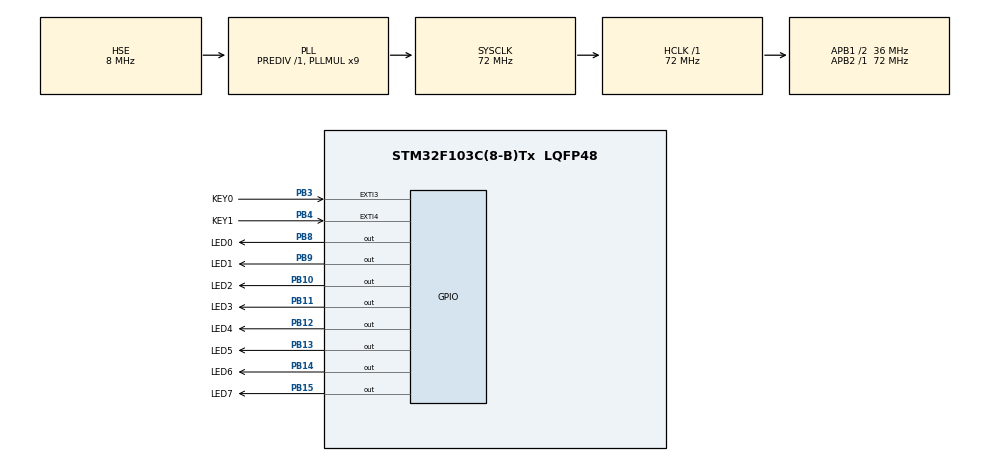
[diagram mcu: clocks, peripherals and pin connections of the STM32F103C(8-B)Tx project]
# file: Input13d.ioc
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Mcu.Family=STM32F1
Mcu.Name=STM32F103C(8-B)Tx
Mcu.Package=LQFP48
NVIC.EXTI3_IRQn=true\:1\:0\:true\:false\:true\:true\:true\:true
NVIC.EXTI4_IRQn=true\:2\:0\:true\:false\:true\:true\:true\:true
NVIC.PriorityGroup=NVIC_PRIORITYGROUP_4
PA13.Mode=Serial_Wire
PA13.Signal=SYS_JTMS-SWDIO
PA14.Mode=Serial_Wire
PA14.Signal=SYS_JTCK-SWCLK
PB10.GPIO_Label=LED2
PB10.Signal=GPIO_Output
PB11.GPIO_Label=LED3
PB11.Signal=GPIO_Output
PB12.GPIO_Label=LED4
PB12.Signal=GPIO_Output
PB13.GPIO_Label=LED5
PB13.Signal=GPIO_Output
PB14.GPIO_Label=LED6
PB14.Signal=GPIO_Output
PB15.GPIO_Label=LED7
PB15.Signal=GPIO_Output
PB3.GPIO_Label=KEY0
PB3.GPIO_ModeDefaultEXTI=GPIO_MODE_IT_RISING_FALLING
PB3.GPIO_PuPd=GPIO_PULLUP
PB3.Signal=GPXTI3
PB4.GPIO_Label=KEY1
PB4.GPIO_ModeDefaultEXTI=GPIO_MODE_IT_RISING_FALLING
PB4.GPIO_PuPd=GPIO_PULLUP
PB4.Signal=GPXTI4
PB8.GPIO_Label=LED0
PB8.Signal=GPIO_Output
PB9.GPIO_Label=LED1
PB9.Signal=GPIO_Output
PD0-OSC_IN.Mode=HSE-External-Oscillator
PD0-OSC_IN.Signal=RCC_OSC_IN
PD1-OSC_OUT.Mode=HSE-External-Oscillator
PD1-OSC_OUT.Signal=RCC_OSC_OUT
ProjectManager.HeapSize=0x200
ProjectManager.StackSize=0x400
ProjectManager.TargetToolchain=MDK-ARM V5.32
RCC.AHBFreq_Value=72000000
RCC.APB1CLKDivider=RCC_HCLK_DIV2
RCC.APB1Freq_Value=36000000
RCC.APB1TimFreq_Value=72000000
RCC.APB2Freq_Value=72000000
RCC.APB2TimFreq_Value=72000000
RCC.HCLKFreq_Value=72000000
RCC.PLLMUL=RCC_PLL_MUL9
RCC.PLLSourceVirtual=RCC_PLLSOURCE_HSE
RCC.SYSCLKFreq_VALUE=72000000
RCC.SYSCLKSource=RCC_SYSCLKSOURCE_PLLCLK
RCC.USBFreq_Value=72000000
board=custom

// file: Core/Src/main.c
/* USER CODE BEGIN Header */
/**
  ******************************************************************************
  * @file           : main.c
  * @brief          : Main program body
  ******************************************************************************
  * @attention
  *
  * Copyright (c) 2022 STMicroelectronics.
  * All rights reserved.
  *
  * This software is licensed under terms that can be found in the LICENSE file
  * in the root directory of this software component.
  * If no LICENSE file comes with this software, it is provided AS-IS.
  *
  ******************************************************************************
  */
/* USER CODE END Header */
#include "main.h"

/* USER CODE BEGIN PV */
uint8_t bin[8];
int isPress1 = 0;
int isPress2 = 0;
uint32_t timePress1 = 0;
uint32_t timePress2 = 0;
uint8_t time_double1 = 0;
uint8_t time_double2 = 0;
/* USER CODE END PV */

void SystemClock_Config(void);
static void MX_GPIO_Init(void);

/* USER CODE BEGIN 0 */
void chuyen_he(int dec)
{
	for(int i = 0; i < 8; i++)
	{
		bin[i] = dec%2;
		dec/=2;
	}
}

void increase_1(void)
{
	for(int i = 0; i <= 255; i++)
	{
		if(isPress2 >= 1||isPress1 >= 1)
		{
			break;
		}
		chuyen_he(i);
		HAL_GPIO_WritePin(GPIOB, GPIO_PIN_8, bin[0]);
		HAL_GPIO_WritePin(GPIOB, GPIO_PIN_9, bin[1]);
		HAL_GPIO_WritePin(GPIOB, GPIO_PIN_10, bin[2]);
		HAL_GPIO_WritePin(GPIOB, GPIO_PIN_11, bin[3]);
		HAL_GPIO_WritePin(GPIOB, GPIO_PIN_12, bin[4]);
		HAL_GPIO_WritePin(GPIOB, GPIO_PIN_13, bin[5]);
		HAL_GPIO_WritePin(GPIOB, GPIO_PIN_14, bin[6]);
		HAL_GPIO_WritePin(GPIOB, GPIO_PIN_15, bin[7]);
		HAL_Delay(1000);
	}
}

void increase_2(void)
{
	for(int i = 0; i <= 255; i+=2)
	{
		if(isPress2 >= 1||isPress1 >= 1)
		{
			break;
		}
		chuyen_he(i);
		HAL_GPIO_WritePin(GPIOB, GPIO_PIN_8, bin[0]);
		HAL_GPIO_WritePin(GPIOB, GPIO_PIN_9, bin[1]);
		HAL_GPIO_WritePin(GPIOB, GPIO_PIN_10, bin[2]);
		HAL_GPIO_WritePin(GPIOB, GPIO_PIN_11, bin[3]);
		HAL_GPIO_WritePin(GPIOB, GPIO_PIN_12, bin[4]);
		HAL_GPIO_WritePin(GPIOB, GPIO_PIN_13, bin[5]);
		HAL_GPIO_WritePin(GPIOB, GPIO_PIN_14, bin[6]);
		HAL_GPIO_WritePin(GPIOB, GPIO_PIN_15, bin[7]);
		HAL_Delay(1000);
	}
}

void reduce_1(void)
{
	for(int i = 255; i >=0; i--)
	{
		if(isPress2 >= 1||isPress1 >= 1)
		{
			break;
		}
		chuyen_he(i);
		HAL_GPIO_WritePin(GPIOB, GPIO_PIN_8, bin[0]);
		HAL_GPIO_WritePin(GPIOB, GPIO_PIN_9, bin[1]);
		HAL_GPIO_WritePin(GPIOB, GPIO_PIN_10, bin[2]);
		HAL_GPIO_WritePin(GPIOB, GPIO_PIN_11, bin[3]);
		HAL_GPIO_WritePin(GPIOB, GPIO_PIN_12, bin[4]);
		HAL_GPIO_WritePin(GPIOB, GPIO_PIN_13, bin[5]);
		HAL_GPIO_WritePin(GPIOB, GPIO_PIN_14, bin[6]);
		HAL_GPIO_WritePin(GPIOB, GPIO_PIN_15, bin[7]);
		HAL_Delay(1000);
	}
}

void reduce_2(void)
{
	for(int i = 255; i >=0; i-=2)
	{
		if(isPress2 >= 1||isPress1 >= 1)
		{
			break;
		}
		chuyen_he(i);
		HAL_GPIO_WritePin(GPIOB, GPIO_PIN_8, bin[0]);
		HAL_GPIO_WritePin(GPIOB, GPIO_PIN_9, bin[1]);
		HAL_GPIO_WritePin(GPIOB, GPIO_PIN_10, bin[2]);
		HAL_GPIO_WritePin(GPIOB, GPIO_PIN_11, bin[3]);
		HAL_GPIO_WritePin(GPIOB, GPIO_PIN_12, bin[4]);
		HAL_GPIO_WritePin(GPIOB, GPIO_PIN_13, bin[5]);
		HAL_GPIO_WritePin(GPIOB, GPIO_PIN_14, bin[6]);
		HAL_GPIO_WritePin(GPIOB, GPIO_PIN_15, bin[7]);
		HAL_Delay(1000);
		if(i == 1)
		{
			i = 2;
		}
	}
}

void led_off(void)
{
		HAL_GPIO_WritePin(GPIOB, GPIO_PIN_8, 0);
		HAL_GPIO_WritePin(GPIOB, GPIO_PIN_9, 0);
		HAL_GPIO_WritePin(GPIOB, GPIO_PIN_10, 0);
		HAL_GPIO_WritePin(GPIOB, GPIO_PIN_11, 0);
		HAL_GPIO_WritePin(GPIOB, GPIO_PIN_12, 0);
		HAL_GPIO_WritePin(GPIOB, GPIO_PIN_13, 0);
		HAL_GPIO_WritePin(GPIOB, GPIO_PIN_14, 0);
		HAL_GPIO_WritePin(GPIOB, GPIO_PIN_15, 0);
}

void Toggle(void)
{
			HAL_GPIO_TogglePin(GPIOB, GPIO_PIN_8);
			HAL_GPIO_TogglePin(GPIOB, GPIO_PIN_9);
			HAL_GPIO_TogglePin(GPIOB, GPIO_PIN_10);
			HAL_GPIO_TogglePin(GPIOB, GPIO_PIN_11);
			HAL_GPIO_TogglePin(GPIOB, GPIO_PIN_12);
			HAL_GPIO_TogglePin(GPIOB, GPIO_PIN_13);
			HAL_GPIO_TogglePin(GPIOB, GPIO_PIN_14);
			HAL_GPIO_TogglePin(GPIOB, GPIO_PIN_15);
}

void Reset()
{
	isPress1 = 0;
	isPress2 = 0;
	timePress1 = 0;
	timePress2 = 0;
	time_double1 = 0;
	time_double2 = 0;
}

/* USER CODE END 0 */

int main(void)
{

  /* MCU Configuration--------------------------------------------------------*/

  /* Reset of all peripherals, Initializes the Flash interface and the Systick. */
  HAL_Init();

  /* Configure the system clock */
  SystemClock_Config();

  /* Initialize all configured peripherals */
  MX_GPIO_Init();
  /* USER CODE BEGIN 2 */
	led_off();
  /* USER CODE END 2 */

  /* Infinite loop */
  while (1)
  {

    /* USER CODE BEGIN 3 */
		if(isPress1 >= 1)
		{
			while(1)
			{
				HAL_Delay(1);
				timePress1+=1;
				if(isPress1 >= 2)
				{
					for(int i = 0; i < 7; i++)
					{
						HAL_Delay(150);
						time_double1 += 1;
						if(isPress1>=3)
						{
							break;
						}
					}
					break;
				}
			}
		}
		if(isPress2 >= 1)
		{
			while(1)
			{
				HAL_Delay(1);
				timePress2+=1;
				if(isPress2 >= 2)
				{
					for(int i = 0; i < 7; i++)
					{
						HAL_Delay(150);
						time_double2 += 1;
						if(isPress2>=3)
						{
							break;
						}
					}
					break;
				}
			}
		}

		if(time_double1 >= 7 && timePress1 > 0 && timePress1 < 1000)
		{
			Reset();
			Toggle();
		}
		if(time_double1 >= 7 && timePress1 >= 1000 && timePress1 <= 5000)
		{
			Reset();
			increase_1();
		}
		if(time_double1 >= 7 && timePress1 > 5000)
		{
			Reset();
			reduce_1();
		}
		if(time_double1 < 7 && isPress1>=4)
		{
			Reset();
			increase_2();
		}
		if(isPress2 >= 4 && time_double2 < 7)
		{
			Reset();
			reduce_2();
		}
		if(isPress2 >= 2 && time_double2 >= 7)
		{
			Reset();
			led_off();
		}
	}

  /* USER CODE END 3 */
}

void SystemClock_Config(void)
{
  RCC_OscInitTypeDef RCC_OscInitStruct = {0};
  RCC_ClkInitTypeDef RCC_ClkInitStruct = {0};

  /** Initializes the RCC Oscillators according to the specified parameters
  * in the RCC_OscInitTypeDef structure.
  */
  RCC_OscInitStruct.OscillatorType = RCC_OSCILLATORTYPE_HSE;
  RCC_OscInitStruct.HSEState = RCC_HSE_ON;
  RCC_OscInitStruct.HSEPredivValue = RCC_HSE_PREDIV_DIV1;
  RCC_OscInitStruct.HSIState = RCC_HSI_ON;
  RCC_OscInitStruct.PLL.PLLState = RCC_PLL_ON;
  RCC_OscInitStruct.PLL.PLLSource = RCC_PLLSOURCE_HSE;
  RCC_OscInitStruct.PLL.PLLMUL = RCC_PLL_MUL9;
  if (HAL_RCC_OscConfig(&RCC_OscInitStruct) != HAL_OK)
  {
    Error_Handler();
  }

  /** Initializes the CPU, AHB and APB buses clocks
  */
  RCC_ClkInitStruct.ClockType = RCC_CLOCKTYPE_HCLK|RCC_CLOCKTYPE_SYSCLK
                              |RCC_CLOCKTYPE_PCLK1|RCC_CLOCKTYPE_PCLK2;
  RCC_ClkInitStruct.SYSCLKSource = RCC_SYSCLKSOURCE_PLLCLK;
  RCC_ClkInitStruct.AHBCLKDivider = RCC_SYSCLK_DIV1;
  RCC_ClkInitStruct.APB1CLKDivider = RCC_HCLK_DIV2;
  RCC_ClkInitStruct.APB2CLKDivider = RCC_HCLK_DIV1;

  if (HAL_RCC_ClockConfig(&RCC_ClkInitStruct, FLASH_LATENCY_2) != HAL_OK)
  {
    Error_Handler();
  }
}

static void MX_GPIO_Init(void)
{
  GPIO_InitTypeDef GPIO_InitStruct = {0};

  /* GPIO Ports Clock Enable */
  __HAL_RCC_GPIOD_CLK_ENABLE();
  __HAL_RCC_GPIOB_CLK_ENABLE();
  __HAL_RCC_GPIOA_CLK_ENABLE();

  /*Configure GPIO pin Output Level */
  HAL_GPIO_WritePin(GPIOB, LED2_Pin|LED3_Pin|LED4_Pin|LED5_Pin
                          |LED6_Pin|LED7_Pin|LED0_Pin|LED1_Pin, GPIO_PIN_RESET);

  /*Configure GPIO pins : LED2_Pin LED3_Pin LED4_Pin LED5_Pin
                           LED6_Pin LED7_Pin LED0_Pin LED1_Pin */
  GPIO_InitStruct.Pin = LED2_Pin|LED3_Pin|LED4_Pin|LED5_Pin
                          |LED6_Pin|LED7_Pin|LED0_Pin|LED1_Pin;
  GPIO_InitStruct.Mode = GPIO_MODE_OUTPUT_PP;
  GPIO_InitStruct.Pull = GPIO_NOPULL;
  GPIO_InitStruct.Speed = GPIO_SPEED_FREQ_LOW;
  HAL_GPIO_Init(GPIOB, &GPIO_InitStruct);

  /*Configure GPIO pins : KEY0_Pin KEY1_Pin */
  GPIO_InitStruct.Pin = KEY0_Pin|KEY1_Pin;
  GPIO_InitStruct.Mode = GPIO_MODE_IT_RISING_FALLING;
  GPIO_InitStruct.Pull = GPIO_PULLUP;
  HAL_GPIO_Init(GPIOB, &GPIO_InitStruct);

  /* EXTI interrupt init*/
  HAL_NVIC_SetPriority(EXTI3_IRQn, 1, 0);
  HAL_NVIC_EnableIRQ(EXTI3_IRQn);

  HAL_NVIC_SetPriority(EXTI4_IRQn, 2, 0);
  HAL_NVIC_EnableIRQ(EXTI4_IRQn);

}

void Error_Handler(void)
{
  __disable_irq();
  while (1)
  {
  }
}
